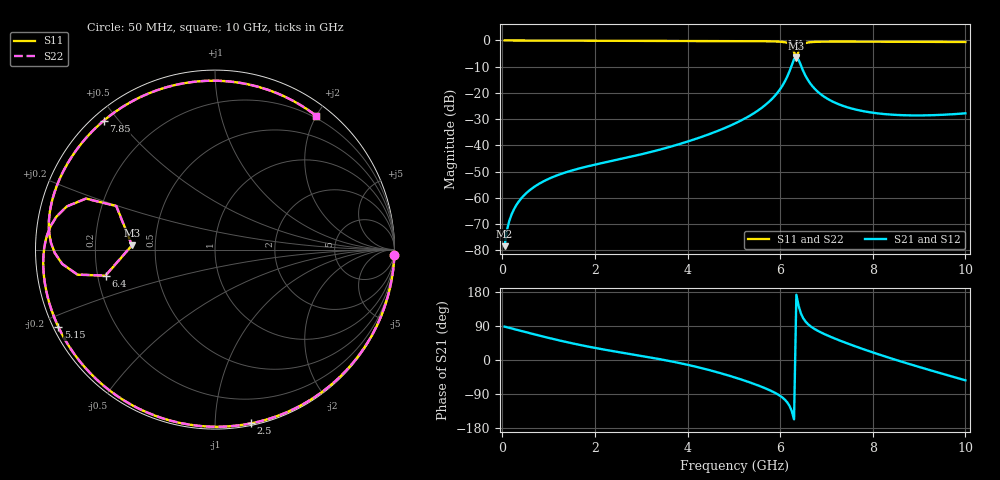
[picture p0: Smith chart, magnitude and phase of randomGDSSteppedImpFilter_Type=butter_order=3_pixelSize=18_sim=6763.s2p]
! freq	dB(S11)	phase(S11)	dB(S12)	phase(S12)
!  dB(S21)	phase(S21)	dB(S22)	phase(S22)
!S-par simulation data
#  GHz  S  DB  R 50
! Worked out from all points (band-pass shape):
!   200 points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, 50 MHz to 10 GHz, reference 50 ohm
!   highest |S21| = -6.17 dB at 6.35 GHz (marker M1); lowest = -78.5 dB at 50 MHz (marker M2)
!   |S21| within 3 dB of the highest: 6.256 GHz to 6.44 GHz (183.2 MHz wide, 2.89 % of centre)
!   lowest |S11| = -6.7 dB at 6.35 GHz (marker M3), VSWR 2.73, Z = 18.4 + j1.11 ohm
!   |S11| at or under -10 dB: nowhere
!   |S22| runs from -6.7 to 0.0 dB; largest |S21 - S12| = 0
!   S11 on the Smith chart (normalised r, x): 50 MHz: 0, -70; 2.5 GHz: 0.01, -1.23; 5.15 GHz: 0.01, -0.23; 6.4 GHz: 0.23, -0.11; 7.85 GHz: 0.03, +0.46; 10 GHz: 0.17, +2.00
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0.05  -0.00 -1.6  -78.45 88.0  -78.45 88.0  -0.00 -1.6
0.1  -0.00 -3.3  -72.40 86.5  -72.40 86.5  -0.00 -3.3
0.2  -0.01 -6.5  -66.38 83.4  -66.38 83.4  -0.01 -6.5
0.5  -0.02 -16.2  -58.53 73.8  -58.53 73.8  -0.02 -16.2
1.75  -0.07 -55.7  -48.42 37.9  -48.42 37.9  -0.07 -55.7
2.5  -0.10 -78.2  -45.43 21.1  -45.43 21.1  -0.10 -78.2
3.4  -0.13 -104.2  -41.65 2.2  -41.65 2.2  -0.13 -104.2
5.05  -0.23 -150.7  -31.45 -47.1  -31.45 -47.1  -0.23 -150.7
5.15  -0.24 -153.6  -30.58 -51.1  -30.58 -51.1  -0.24 -153.6
5.7  -0.31 -170.7  -24.32 -75.8  -24.32 -75.8  -0.31 -170.7
6.05  -0.56 174.8  -17.22 -99.2  -17.22 -99.2  -0.56 174.8
6.25  -2.24 158.4  -9.46 -134.4  -9.46 -134.4  -2.23 158.4
6.3  -4.42 156.2  -7.15 -156.5  -7.15 -156.5  -4.42 156.2
6.35  -6.69 177.1  -6.17 172.1  -6.17 172.1  -6.67 177.0
6.4  -4.06 -166.6  -7.41 142.3  -7.41 142.3  -4.05 -166.7
6.5  -1.36 -174.6  -11.75 109.8  -11.75 109.8  -1.36 -174.7
6.7  -0.59 172.3  -17.52 85.2  -17.52 85.2  -0.59 172.3
7.15  -0.44 154.7  -23.45 58.1  -23.45 58.1  -0.44 154.7
7.85  -0.46 130.9  -27.14 26.3  -27.14 26.3  -0.46 130.8
8.35  -0.49 113.6  -28.22 6.0  -28.22 6.0  -0.49 113.5
9.2  -0.54 82.8  -28.55 -25.5  -28.55 -25.5  -0.54 82.8
10  -0.59 52.8  -27.79 -53.7  -27.79 -53.7  -0.59 52.8
